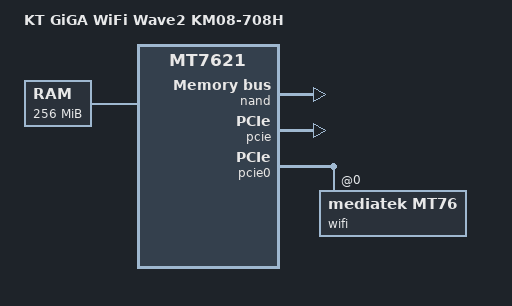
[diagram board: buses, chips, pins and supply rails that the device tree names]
// SPDX-License-Identifier: GPL-2.0-or-later OR MIT
/*
 * KT GiGA WiFi Wave2 (KM08-708H)  -  bring-up draft for OpenWrt 23.05
 *
 * Facts taken from a running vendor build (board "hm,km08-708h-9000"):
 *   SoC   MT7621AT, 256 MB RAM (0x00000000-0x0fffffff)
 *   Flash 128 MB SLC NAND (Winbond W29N01HV), 2048 B pages, 128 KiB blocks
 *   WiFi  MT7615E on PCIe port 0 (two phys: 2.4 GHz + 5 GHz)
 *   Switch MT7530: port0 "mgm", port1 "lan4", port2 "lan3", port3 "lan2", port4 "lan1"
 *   Partitions as listed in /proc/mtd of the vendor build.
 *
 * NOT verified: LED / button GPIOs, ethernet MAC location, EEPROM offset.
 * Netboot the initramfs image over serial and verify before flashing NAND.
 */

#include "mt7621.dtsi"

/ {
	compatible = "kt,km08-708h", "mediatek,mt7621-soc";
	model = "KT GiGA WiFi Wave2 KM08-708H";

	memory@0 {
		device_type = "memory";
		reg = <0x0 0x10000000>;
	};

	chosen {
		bootargs = "console=ttyS0,115200";
	};
};

&nand {
	status = "okay";

	partitions {
		compatible = "fixed-partitions";
		#address-cells = <1>;
		#size-cells = <1>;

		partition@0 {
			label = "u-boot";
			reg = <0x0 0x80000>;
			read-only;
		};

		partition@80000 {
			label = "u-boot-env";
			reg = <0x80000 0x40000>;
			read-only;
		};

		factory: partition@c0000 {
			label = "factory";
			reg = <0xc0000 0x40000>;
			read-only;
		};

		partition@100000 {
			label = "bdinfo";
			reg = <0x100000 0x40000>;
			read-only;
		};

		partition@140000 {
			label = "kernel";
			reg = <0x140000 0x400000>;
		};

		partition@540000 {
			label = "ubi";
			reg = <0x540000 0x6d00000>;
		};

		partition@7240000 {
			label = "recoverk";
			reg = <0x7240000 0x720000>;
			read-only;
		};

		partition@7960000 {
			label = "recoverr";
			reg = <0x7960000 0xe0000>;
			read-only;
		};

		partition@7a40000 {
			label = "nvram";
			reg = <0x7a40000 0xe0000>;
			read-only;
		};

		partition@7b20000 {
			label = "log";
			reg = <0x7b20000 0x4e0000>;
			read-only;
		};
	};
};

&pcie {
	status = "okay";
};

&pcie0 {
	wifi@0,0 {
		compatible = "mediatek,mt76";
		reg = <0x0000 0 0 0 0>;
		mediatek,mtd-eeprom = <&factory 0x0>;
	};
};

&switch0 {
	ports {
		port@0 {
			status = "okay";
			label = "mgm";
		};

		port@1 {
			status = "okay";
			label = "lan4";
		};

		port@2 {
			status = "okay";
			label = "lan3";
		};

		port@3 {
			status = "okay";
			label = "lan2";
		};

		port@4 {
			status = "okay";
			label = "lan1";
		};
	};
};
